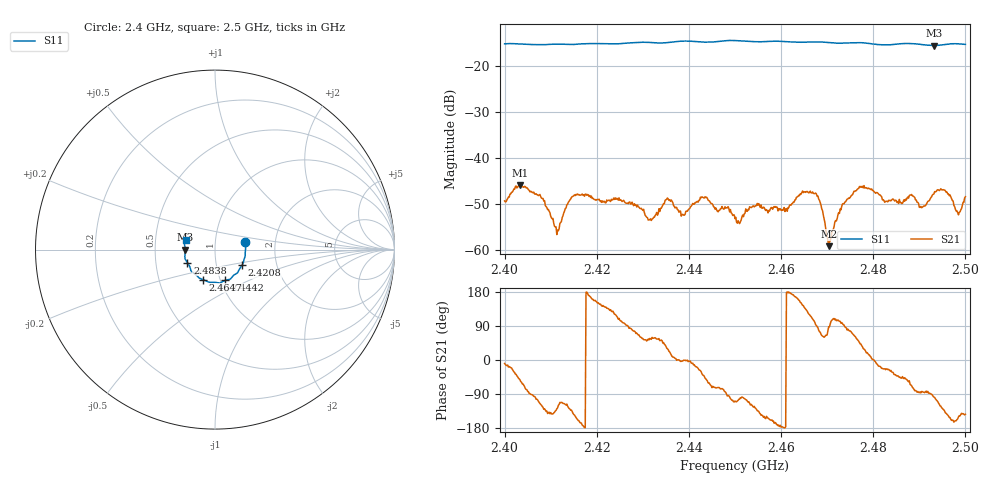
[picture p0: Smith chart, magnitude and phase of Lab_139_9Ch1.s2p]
# Hz S RI R 50
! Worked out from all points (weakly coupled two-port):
!   601 points, 2.4 GHz to 2.5 GHz, reference 50 ohm
!   highest |S21| = -45.98 dB at 2.4033 GHz (marker M1); lowest = -59.2 dB at 2.4703 GHz (marker M2)
!   lowest |S11| = -15.6 dB at 2.4932 GHz (marker M3), VSWR 1.40, Z = 35.8 - j0.0887 ohm
!   |S11| at or under -10 dB: start of sweep to end of sweep
!   S12 and S22 are empty: the file has one direction only
!   S11 on the Smith chart (normalised r, x): 2.4 GHz: 1.40, +0.12; 2.4208 GHz: 1.33, -0.24; 2.4442 GHz: 1.05, -0.37; 2.4647 GHz: 0.83, -0.29; 2.4838 GHz: 0.73, -0.11; 2.5 GHz: 0.72, +0.08
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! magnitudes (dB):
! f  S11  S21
! 2.4 GHz  -15.2  -49.4
! 2.4033 GHz  -15.3  -46.0
! 2.4082 GHz  -15.4  -48.8
! 2.4113 GHz  -15.3  -56.7
! 2.4143 GHz  -15.4  -49.0
! 2.4167 GHz  -15.2  -48.0
! 2.4208 GHz  -15.2  -49.3
! 2.4333 GHz  -15.0  -52.1
! 2.4442 GHz  -14.9  -49.2
! 2.45 GHz  -14.5  -53.2
! 2.4647 GHz  -14.9  -47.2
! 2.4667 GHz  -14.8  -47.7
! 2.4685 GHz  -14.8  -49.7
! 2.4703 GHz  -15.0  -59.2
! 2.477 GHz  -15.0  -46.2
! 2.4833 GHz  -15.4  -49.2
! 2.4838 GHz  -15.4  -49.3
! 2.4905 GHz  -15.4  -50.9
! 2.4932 GHz  -15.6  -47.9
! 2.4957 GHz  -15.4  -47.2
! 2.4983 GHz  -15.2  -51.9
! 2.5 GHz  -15.4  -48.5
